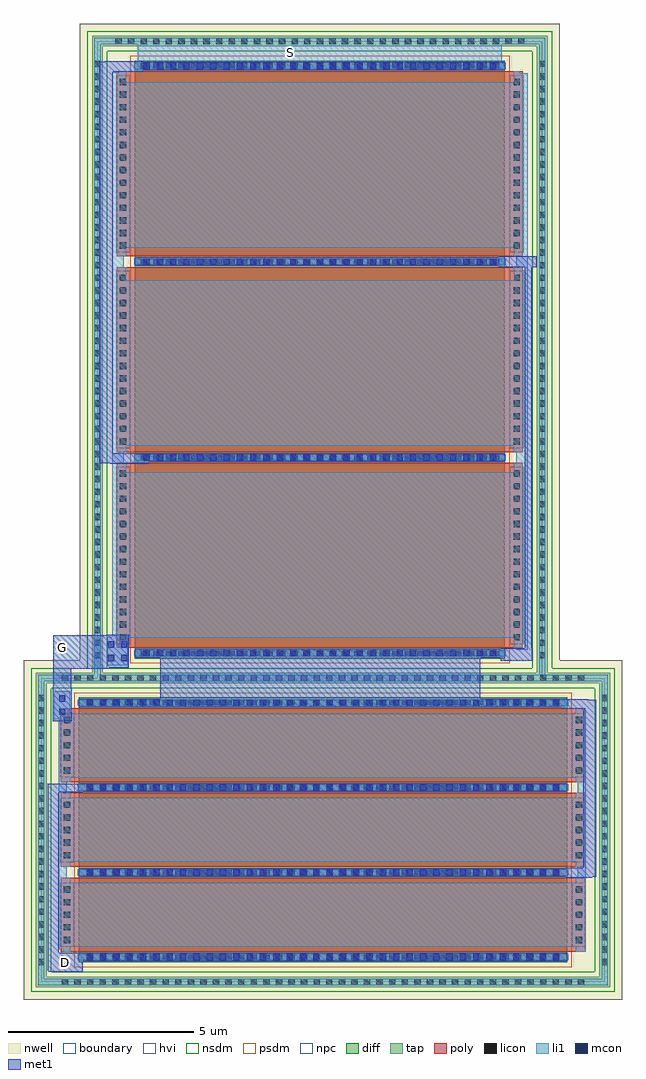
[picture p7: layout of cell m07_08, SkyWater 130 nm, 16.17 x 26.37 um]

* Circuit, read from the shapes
.subckt m07_08 D G S
XM1 n1 G D S sky130_fd_pr__pfet_g5v0d10v5 w=13.2 l=2 m=3
XM2 S G n1 S sky130_fd_pr__pfet_g5v0d10v5 w=10 l=5 m=3
.ends

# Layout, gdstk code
from math import pi, radians
import gdstk
lib = gdstk.Library(unit=1e-6, precision=1e-09)
def R(c, l, rs):  # rectangles x0, y0, x1, y1
    for r in rs: c.add(gdstk.rectangle(r[:2], r[2:], *l))
def A(c, l, x, y, w, h, nx, ny, dx, dy):  # array of equal rectangles
    R(c, l, [(x+i*dx, y+j*dy, x+i*dx+w, y+j*dy+h) for i in range(nx) for j in range(ny)])
nwell = (64, 20)
diff = (65, 20)
tap = (65, 44)
poly = (66, 20)
licon = (66, 44)
li1 = (67, 20)
mcon = (67, 44)
met1 = (68, 20)
hvi = (75, 20)
nsdm = (93, 44)
psdm = (94, 20)
npc = (95, 20)
boundary = (235, 4)

sky130_fd_pr__pfet_g5v0d = lib.new_cell('sky130_fd_pr__pfet_g5v0d10v5_QAVCZF')
R(sky130_fd_pr__pfet_g5v0d, nwell, [(-9.08,-6.485,9.08,6.485)])
R(sky130_fd_pr__pfet_g5v0d, diff, [(-8.08,-5,8.08,5)])
R(sky130_fd_pr__pfet_g5v0d, tap, [(-8.75,-6.155,8.75,-5.865), (-8.75,-5.865,-8.46,5.865), (8.46,-5.865,8.75,5.865), (-8.75,5.865,8.75,6.155)])
A(sky130_fd_pr__pfet_g5v0d, poly, -7.79, -5.485, 5, 10.97, 3, 1, 5.29, 0)
A(sky130_fd_pr__pfet_g5v0d, licon, -8.075, -6.095, 0.17, 0.17, 48, 2, 0.34, 12.02)
A(sky130_fd_pr__pfet_g5v0d, licon, -8.69, -5.525, 0.17, 0.17, 1, 33, 0, 0.34)
A(sky130_fd_pr__pfet_g5v0d, licon, -7.585, -5.405, 0.17, 0.17, 14, 2, 0.34, 10.64)
A(sky130_fd_pr__pfet_g5v0d, licon, -2.295, -5.405, 0.17, 0.17, 14, 2, 0.34, 10.64)
A(sky130_fd_pr__pfet_g5v0d, licon, 2.995, -5.405, 0.17, 0.17, 14, 2, 0.34, 10.64)
A(sky130_fd_pr__pfet_g5v0d, licon, -8.02, -4.845, 0.17, 0.17, 4, 29, 5.29, 0.34)
A(sky130_fd_pr__pfet_g5v0d, li1, -7.79, -5.405, 5, 0.17, 3, 2, 5.29, 10.64)
A(sky130_fd_pr__pfet_g5v0d, li1, -8.02, -5.02, 0.17, 10.04, 4, 1, 5.29, 0)
R(sky130_fd_pr__pfet_g5v0d, li1, [(-8.69,-6.095,8.52,-5.925), (-8.69,-5.925,-8.52,5.925), (-8.69,5.925,8.52,6.095)])
A(sky130_fd_pr__pfet_g5v0d, mcon, -8.02, -4.765, 0.17, 0.17, 4, 27, 5.29, 0.36)
A(sky130_fd_pr__pfet_g5v0d, met1, -8.05, -5, 0.23, 10, 4, 1, 5.29, 0)
R(sky130_fd_pr__pfet_g5v0d, hvi, [(-9.08,-6.485,9.08,6.485)])
R(sky130_fd_pr__pfet_g5v0d, nsdm, [(-8.875,-6.28,8.875,-5.74), (-8.875,-5.74,-8.335,5.74), (8.335,-5.74,8.875,5.74), (-8.875,5.74,8.875,6.28)])
R(sky130_fd_pr__pfet_g5v0d, psdm, [(-8.205,-5.125,8.205,5.125)])
A(sky130_fd_pr__pfet_g5v0d, npc, -7.685, -5.505, 4.79, 0.37, 3, 2, 5.29, 10.64)
R(sky130_fd_pr__pfet_g5v0d, boundary, [(-8.605,-6.01,8.605,6.01)])

c_sky130_fd_pr__pfet_g5v0d = lib.new_cell('sky130_fd_pr__pfet_g5v0d10v5_93K9QQ')
R(c_sky130_fd_pr__pfet_g5v0d, nwell, [(-4.58,-8.085,4.58,8.085)])
R(c_sky130_fd_pr__pfet_g5v0d, diff, [(-3.58,-6.6,3.58,6.6)])
R(c_sky130_fd_pr__pfet_g5v0d, tap, [(-4.25,-7.755,4.25,-7.465), (-4.25,-7.465,-3.96,7.465), (3.96,-7.465,4.25,7.465), (-4.25,7.465,4.25,7.755)])
A(c_sky130_fd_pr__pfet_g5v0d, poly, -3.29, -7.085, 2, 14.17, 3, 1, 2.29, 0)
A(c_sky130_fd_pr__pfet_g5v0d, licon, -3.655, -7.695, 0.17, 0.17, 22, 2, 0.34, 15.22)
A(c_sky130_fd_pr__pfet_g5v0d, licon, -4.19, -7.055, 0.17, 0.17, 1, 42, 0, 0.34)
A(c_sky130_fd_pr__pfet_g5v0d, licon, 4.02, -7.055, 0.17, 0.17, 1, 42, 0, 0.34)
A(c_sky130_fd_pr__pfet_g5v0d, licon, -3.055, -7.005, 0.17, 0.17, 5, 2, 0.34, 13.84)
A(c_sky130_fd_pr__pfet_g5v0d, licon, -0.765, -7.005, 0.17, 0.17, 5, 2, 0.34, 13.84)
A(c_sky130_fd_pr__pfet_g5v0d, licon, 1.525, -7.005, 0.17, 0.17, 5, 2, 0.34, 13.84)
A(c_sky130_fd_pr__pfet_g5v0d, licon, -3.52, -6.375, 0.17, 0.17, 4, 38, 2.29, 0.34)
A(c_sky130_fd_pr__pfet_g5v0d, li1, -3.29, -7.005, 2, 0.17, 3, 2, 2.29, 13.84)
A(c_sky130_fd_pr__pfet_g5v0d, li1, -3.52, -6.62, 0.17, 13.24, 4, 1, 2.29, 0)
R(c_sky130_fd_pr__pfet_g5v0d, li1, [(-4.19,-7.695,4.19,-7.525), (-4.19,-7.525,-4.02,7.525), (4.02,-7.525,4.19,7.525), (-4.19,7.525,4.19,7.695)])
A(c_sky130_fd_pr__pfet_g5v0d, mcon, -3.52, -6.385, 0.17, 0.17, 4, 36, 2.29, 0.36)
A(c_sky130_fd_pr__pfet_g5v0d, met1, -3.55, -6.6, 0.23, 13.2, 4, 1, 2.29, 0)
R(c_sky130_fd_pr__pfet_g5v0d, hvi, [(-4.58,-8.085,4.58,8.085)])
R(c_sky130_fd_pr__pfet_g5v0d, nsdm, [(-4.375,-7.88,4.375,-7.34), (-4.375,-7.34,-3.835,7.34), (3.835,-7.34,4.375,7.34), (-4.375,7.34,4.375,7.88)])
R(c_sky130_fd_pr__pfet_g5v0d, psdm, [(-3.705,-6.725,3.705,6.725)])
A(c_sky130_fd_pr__pfet_g5v0d, npc, -3.155, -7.105, 1.73, 0.37, 3, 2, 2.29, 13.84)
R(c_sky130_fd_pr__pfet_g5v0d, boundary, [(-4.105,-7.61,4.105,7.61)])

m07_08 = lib.new_cell('m07_08')
R(m07_08, nwell, [(132.94,44.15,133.88,44.66), (145.17,52.55,146.02,52.88)])
R(m07_08, li1, [(147.25,44.69,147.47,44.825), (133.22,44.75,133.44,44.825), (133.22,44.825,147.47,46.545), (133.22,46.545,133.44,47.12), (147.25,46.545,147.47,47.12), (133.22,47.12,147.47,48.84), (133.22,48.84,133.44,49.39), (147.25,48.84,147.47,49.39), (133.22,49.39,147.47,50.97), (133.1,50.97,147.47,51.11), (133.1,51.11,133.54,51.73), (147.25,51.11,147.47,51.21), (134.54,52.42,135.09,53.17), (145.59,52.85,145.9,53.17), (134.54,53.17,145.9,53.19), (134.67,53.19,145.9,57.64), (134.67,57.64,134.98,58.36), (145.59,57.64,145.9,58.36), (134.67,58.36,145.9,62.83), (134.67,62.83,134.98,63.71), (145.59,62.83,145.9,63.71), (134.67,63.71,145.9,68.18), (134.67,68.18,134.98,68.45), (145.59,68.18,145.9,68.42), (135.36,68.59,145.19,69.35)])
R(m07_08, mcon, [(133.235,51.085,133.405,51.255), (133.235,51.445,133.405,51.615), (134.55,52.54,134.72,52.71), (134.91,52.54,135.08,52.71), (134.55,52.9,134.72,53.07), (134.91,52.9,135.08,53.07)])
R(m07_08, met1, [(132.94,44.15,133.88,44.18), (132.93,44.18,133.88,44.66), (132.93,44.66,133.22,48.99), (146.92,46.69,147.64,46.71), (146.92,46.71,147.75,46.95), (147.39,46.95,147.75,51.25), (132.93,48.99,133.88,49.23), (133.07,50.91,133.57,51.79), (146.81,51.25,147.75,51.5), (135.97,51.37,144.62,52.77), (146.81,51.5,147.53,51.51), (133.08,51.79,133.56,52.33), (133.08,52.33,134.57,52.36), (133.08,52.36,135.12,53.24), (145.17,52.55,146.02,52.88), (145.82,52.88,146.01,63.18), (134.51,53.24,135.12,53.25), (134.62,57.87,135.65,57.89), (134.32,57.89,135.65,58.16), (134.32,58.16,134.68,68.46), (145.11,63.18,146.14,63.47), (134.32,68.46,135.5,68.73), (134.47,68.73,135.5,68.75)])
m07_08.add(gdstk.Reference(sky130_fd_pr__pfet_g5v0d, (140.28,60.685), rotation=3*pi/2))
m07_08.add(gdstk.Reference(c_sky130_fd_pr__pfet_g5v0d, (140.365,47.975), rotation=3*pi/2))
m07_08.add(gdstk.Label('G', (133.34,52.91), layer=68, texttype=5))
m07_08.add(gdstk.Label('S', (139.5,68.97), layer=67, texttype=5))
m07_08.add(gdstk.Label('D', (133.41,44.39), layer=68, texttype=5))

lib.write_gds('m07_08.gds')
